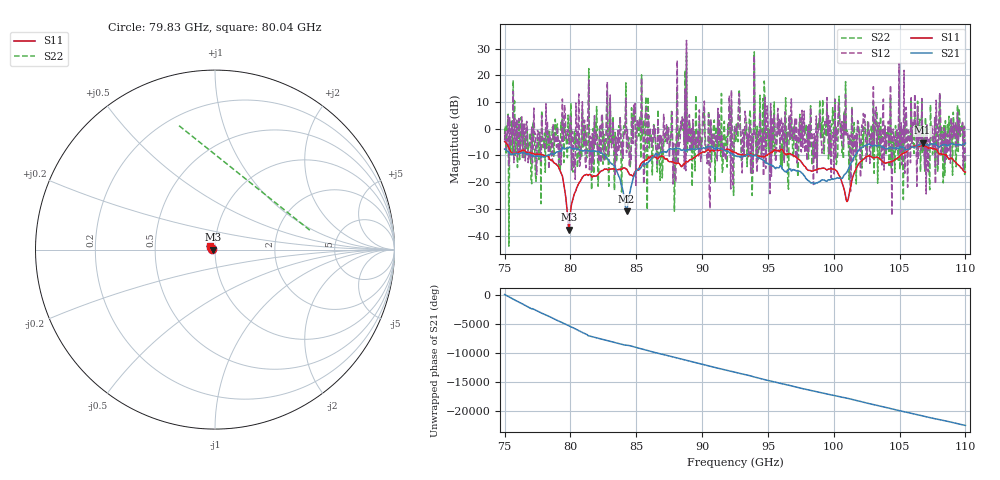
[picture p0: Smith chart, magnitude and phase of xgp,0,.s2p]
!Created with skrf (http://scikit-rf.org).
# GHz S RI R 50.0
!freq ReS11 ImS11 ReS21 ImS21 ReS12 ImS12 ReS22 ImS22
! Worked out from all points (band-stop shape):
!   647 points, 75 GHz to 110 GHz, reference 50 ohm
!   highest |S21| = -5.24 dB at 106.7 GHz (marker M1); lowest = -30.9 dB at 84.27 GHz (marker M2)
!   |S21| within 3 dB of the highest: 88.78 GHz to 91.77 GHz (2.981 GHz wide, 3.3 % of centre); 101.9 GHz to end of sweep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
!   lowest |S11| = -37.7 dB at 79.88 GHz (marker M3), VSWR 1.03, Z = 48.7 + j0.014 ohm
!   |S11| at or under -10 dB: 78.01 GHz to 89.61 GHz (11.61 GHz wide, 13.8 % of centre); 96.93 GHz to 105 GHz (8.109 GHz wide, 8.03 % of centre); 108.6 GHz to end of sweep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
!   |S22| runs from -44.0 to 28.8 dB; largest |S21 - S12| = 45
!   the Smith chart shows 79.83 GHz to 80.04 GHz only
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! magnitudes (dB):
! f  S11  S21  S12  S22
! 75 GHz  -4.8  -7.6  -4.3  -2.0
! 78.96 GHz  -13.5  -8.7  -6.9  0.8
! 79.88 GHz  -37.7  -7.1  -5.6  -2.9
! 80.85 GHz  -18.7  -8.2  1.5  -10.8
! 83.29 GHz  -15.0  -13.7  -5.0  -5.8
! 84.27 GHz  -15.0  -30.9  -8.9  -0.5
! 86.7 GHz  -10.8  -9.8  -3.0  -6.8
! 87.52 GHz  -12.4  -7.6  -10.6  -5.2
! 87.9 GHz  -12.6  -7.6  -16.8  -30.9
! 88.65 GHz  -13.3  -7.9  -15.0  -5.4
! 89.3 GHz  -11.1  -7.5  3.4  1.9
! 90.17 GHz  -8.8  -7.2  10.4  5.3
! 90.44 GHz  -7.9  -6.7  -9.4  -13.0
! 92.5 GHz  -8.9  -10.1  0.9  0.3
! 92.77 GHz  -9.5  -10.4  8.1  9.6
! 98.35 GHz  -15.9  -20.3  -1.5  -13.6
! 101 GHz  -27.3  -16.2  -2.1  -0.7
! 102.3 GHz  -11.3  -6.5  2.6  0.2
! 104.2 GHz  -12.6  -7.1  -6.4  -13.7
! 106.7 GHz  -6.2  -5.2  -3.2  -9.2
! 109.6 GHz  -13.9  -5.9  -2.2  4.1
! 110 GHz  -16.2  -5.4  -12.5  -10.3
